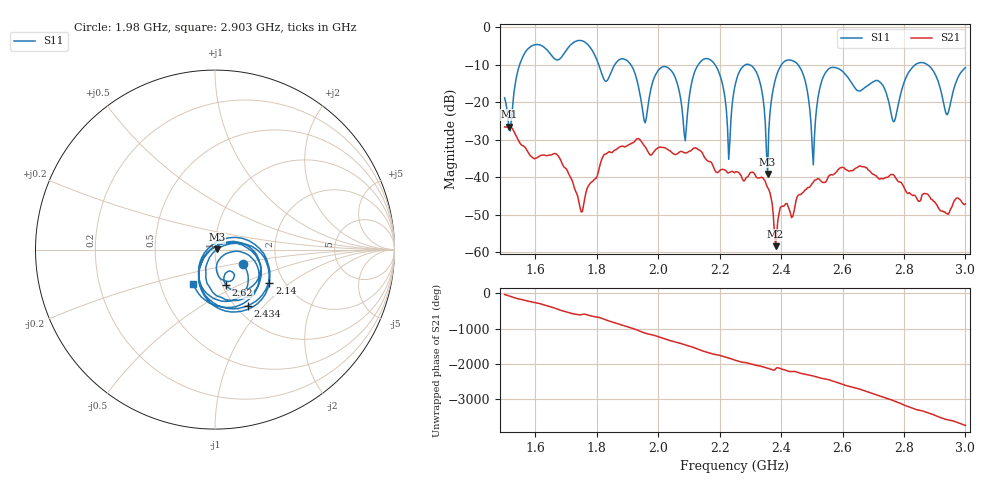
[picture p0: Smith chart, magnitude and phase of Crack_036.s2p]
# HZ S RI R 50
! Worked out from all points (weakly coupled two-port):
!   404 points, 1.5 GHz to 3 GHz, reference 50 ohm
!   highest |S21| = -26.46 dB at 1.515 GHz (marker M1); lowest = -58.3 dB at 2.382 GHz (marker M2)
!   lowest |S11| = -39.1 dB at 2.356 GHz (marker M3), VSWR 1.02, Z = 51.1 + j0.215 ohm
!   |S11| at or under -10 dB: 1.911 GHz to 2.13 GHz (219.4 MHz wide, 10.9 % of centre); 2.456 GHz to 2.836 GHz (381 MHz wide, 14.4 % of centre); 2.877 GHz to end of sweep (the widest 3 of 7)
!   S12 and S22 are empty: the file has one direction only
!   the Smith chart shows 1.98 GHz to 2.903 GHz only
!   S11 on the Smith chart (normalised r, x): 1.98 GHz: 1.35, -0.22; 2.14 GHz: 1.68, -0.71; 2.434 GHz: 1.13, -0.82; 2.62 GHz: 1.04, -0.43; 2.903 GHz: 0.73, -0.30
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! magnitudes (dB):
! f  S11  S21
! 1.5 GHz  -18.8  -26.6
! 1.515 GHz  -27.3  -26.5
! 1.574 GHz  -5.9  -33.0
! 1.753 GHz  -3.6  -49.1
! 1.958 GHz  -25.5  -31.9
! 1.98 GHz  -15.1  -33.8
! 2.002 GHz  -11.3  -32.0
! 2.088 GHz  -30.2  -33.5
! 2.14 GHz  -9.0  -33.1
! 2.23 GHz  -35.2  -38.8
! 2.252 GHz  -14.9  -38.5
! 2.315 GHz  -11.3  -39.3
! 2.356 GHz  -39.1  -42.7
! 2.382 GHz  -13.7  -58.3
! 2.434 GHz  -8.8  -50.7
! 2.501 GHz  -31.5  -41.6
! 2.546 GHz  -11.9  -41.2
! 2.62 GHz  -13.7  -38.3
! 2.751 GHz  -19.9  -39.8
! 2.903 GHz  -12.8  -46.9
! 2.94 GHz  -23.3  -49.6
! 3 GHz  -10.8  -47.1
